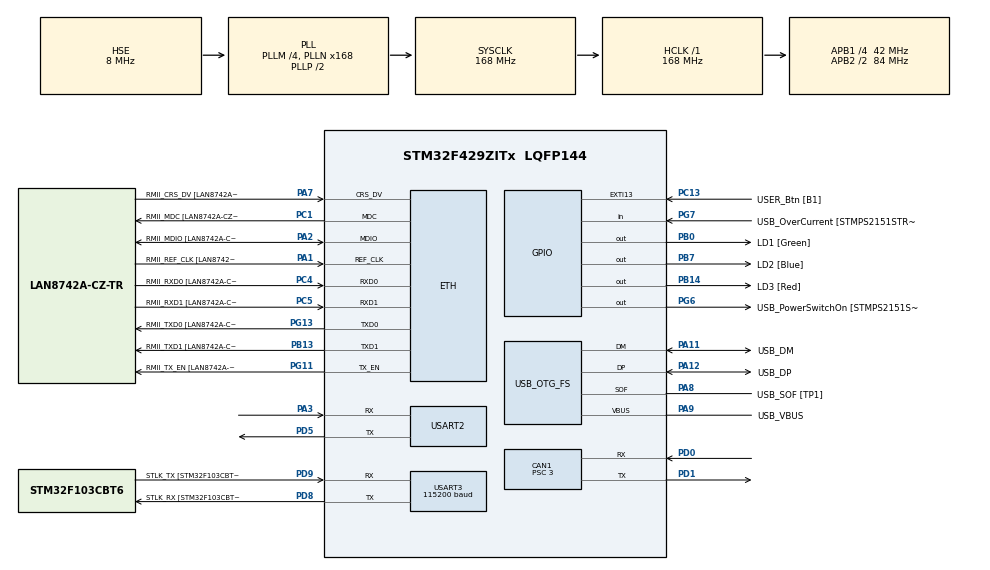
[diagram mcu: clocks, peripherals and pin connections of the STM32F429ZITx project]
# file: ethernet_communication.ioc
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CAN1.BS1=CAN_BS1_9TQ
CAN1.BS2=CAN_BS2_4TQ
CAN1.CalculateBaudRate=1000000
CAN1.CalculateTimeBit=999.99
CAN1.CalculateTimeQuantum=71.42857142857143
CAN1.Prescaler=3
ETH.MediaInterface=ETH_MEDIA_INTERFACE_RMII
ETH.PHY_Name_RMII=DP83848_PHY_ADDRESS
LWIP.GATEWAY_ADDRESS=169.254.001.001
LWIP.IP_ADDRESS=169.254.227.001
LWIP.LWIP_DHCP=0
LWIP.NETMASK_ADDRESS=255.255.000.000
LWIP.Version=v2.1.2_Cube
Mcu.Family=STM32F4
Mcu.Name=STM32F429ZITx
Mcu.Package=LQFP144
NVIC.CAN1_RX0_IRQn=true\:0\:0\:false\:false\:true\:true\:true
NVIC.CAN1_TX_IRQn=true\:0\:0\:false\:false\:true\:true\:true
NVIC.EXTI15_10_IRQn=true\:0\:0\:false\:false\:true\:true\:true
NVIC.PriorityGroup=NVIC_PRIORITYGROUP_4
PA1.GPIO_Label=RMII_REF_CLK [LAN8742A-CZ-TR_REFCLK0]
PA1.Mode=RMII
PA1.Signal=ETH_REF_CLK
PA10.GPIO_Label=USB_ID
PA10.Signal=USB_OTG_FS_ID
PA11.GPIO_Label=USB_DM
PA11.Mode=Device_Only
PA11.Signal=USB_OTG_FS_DM
PA12.GPIO_Label=USB_DP
PA12.Mode=Device_Only
PA12.Signal=USB_OTG_FS_DP
PA13.GPIO_Label=TMS
PA13.Mode=Serial_Wire
PA13.Signal=SYS_JTMS-SWDIO
PA14.GPIO_Label=TCK
PA14.Mode=Serial_Wire
PA14.Signal=SYS_JTCK-SWCLK
PA2.GPIO_Label=RMII_MDIO [LAN8742A-CZ-TR_MDIO]
PA2.Mode=RMII
PA2.Signal=ETH_MDIO
PA3.Mode=Asynchronous
PA3.Signal=USART2_RX
PA7.GPIO_Label=RMII_CRS_DV [LAN8742A-CZ-TR_CRS_DV]
PA7.Mode=RMII
PA7.Signal=ETH_CRS_DV
PA8.GPIO_Label=USB_SOF [TP1]
PA8.Mode=Activate_SOF_FS
PA8.Signal=USB_OTG_FS_SOF
PA9.GPIO_Label=USB_VBUS
PA9.Mode=Activate_VBUS
PA9.Signal=USB_OTG_FS_VBUS
PB0.GPIO_Label=LD1 [Green]
PB0.Signal=GPIO_Output
PB13.GPIO_Label=RMII_TXD1 [LAN8742A-CZ-TR_TXD1]
PB13.Mode=RMII
PB13.Signal=ETH_TXD1
PB14.GPIO_Label=LD3 [Red]
PB14.PinState=GPIO_PIN_RESET
PB14.Signal=GPIO_Output
PB7.GPIO_Label=LD2 [Blue]
PB7.Signal=GPIO_Output
PC1.GPIO_Label=RMII_MDC [LAN8742A-CZ-TR_MDC]
PC1.Mode=RMII
PC1.Signal=ETH_MDC
PC13.GPIO_Label=USER_Btn [B1]
PC13.GPIO_PuPd=GPIO_PULLDOWN
PC13.Signal=GPXTI13
PC14/OSC32_IN.Mode=LSE-External-Oscillator
PC14/OSC32_IN.Signal=RCC_OSC32_IN
PC15/OSC32_OUT.Mode=LSE-External-Oscillator
PC15/OSC32_OUT.Signal=RCC_OSC32_OUT
PC4.GPIO_Label=RMII_RXD0 [LAN8742A-CZ-TR_RXD0]
PC4.Mode=RMII
PC4.Signal=ETH_RXD0
PC5.GPIO_Label=RMII_RXD1 [LAN8742A-CZ-TR_RXD1]
PC5.Mode=RMII
PC5.Signal=ETH_RXD1
PD0.Mode=CAN_Activate
PD0.Signal=CAN1_RX
PD1.Mode=CAN_Activate
PD1.Signal=CAN1_TX
PD5.Mode=Asynchronous
PD5.Signal=USART2_TX
PD8.GPIO_Label=STLK_RX [STM32F103CBT6_PA3]
PD8.Mode=Asynchronous
PD8.Signal=USART3_TX
PD9.GPIO_Label=STLK_TX [STM32F103CBT6_PA2]
PD9.Mode=Asynchronous
PD9.Signal=USART3_RX
PG11.GPIO_Label=RMII_TX_EN [LAN8742A-CZ-TR_TXEN]
PG11.Mode=RMII
PG11.Signal=ETH_TX_EN
PG13.GPIO_Label=RMII_TXD0 [LAN8742A-CZ-TR_TXD0]
PG13.Mode=RMII
PG13.Signal=ETH_TXD0
PG6.GPIO_Label=USB_PowerSwitchOn [STMPS2151STR_EN]
PG6.Signal=GPIO_Output
PG7.GPIO_Label=USB_OverCurrent [STMPS2151STR_FAULT]
PG7.Signal=GPIO_Input
PH0/OSC_IN.GPIO_Label=MCO [STM32F103CBT6_PA8]
PH0/OSC_IN.Mode=HSE-External-Clock-Source
PH0/OSC_IN.Signal=RCC_OSC_IN
PH1/OSC_OUT.Mode=HSE-External-Clock-Source
PH1/OSC_OUT.Signal=RCC_OSC_OUT
ProjectManager.HeapSize=0x200
ProjectManager.StackSize=0x400
ProjectManager.TargetToolchain=STM32CubeIDE
RCC.48MHZClocksFreq_Value=48000000
RCC.AHBFreq_Value=168000000
RCC.APB1CLKDivider=RCC_HCLK_DIV4
RCC.APB1Freq_Value=42000000
RCC.APB1TimFreq_Value=84000000
RCC.APB2CLKDivider=RCC_HCLK_DIV2
RCC.APB2Freq_Value=84000000
RCC.APB2TimCLKDivider=2
RCC.APB2TimFreq_Value=168000000
RCC.CortexFreq_Value=168000000
RCC.HCLKFreq_Value=168000000
RCC.HSE_VALUE=8000000
RCC.HSI_VALUE=16000000
RCC.PLLM=4
RCC.PLLMUL=RCC_PLL_MUL9
RCC.PLLN=168
RCC.PLLQ=7
RCC.PRESCALERUSB=RCC_USBCLKSOURCE_PLL_DIV1_5
RCC.SYSCLKFreq_VALUE=168000000
RCC.SYSCLKSource=RCC_SYSCLKSOURCE_PLLCLK
RCC.SYSCLKSourceVirtual=RCC_SYSCLKSOURCE_PLLCLK
RCC.USBFreq_Value=48000000
RCC.VCOOutputFreq_Value=336000000
USART2.VirtualMode=VM_ASYNC
USART3.BaudRate=115200
USART3.VirtualMode=VM_ASYNC
USB_OTG_FS.VirtualMode=Device_Only
VP_LWIP_VS_Enabled.Mode=Enabled
board=NUCLEO-F429ZI

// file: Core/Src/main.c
/* USER CODE BEGIN Header */
/**
  ******************************************************************************
  * @file           : main.c
  * @brief          : Main program body
  ******************************************************************************
  * @attention
  *
  * <h2><center>&copy; Copyright (c) 2022 STMicroelectronics.
  * All rights reserved.</center></h2>
  *
  * This software component is licensed by ST under Ultimate Liberty license
  * SLA0044, the "License"; You may not use this file except in compliance with
  * the License. You may obtain a copy of the License at:
  *                             www.st.com/SLA0044
  *
  ******************************************************************************
  */
/* USER CODE END Header */
#include "main.h"
#include "can.h"
#include "lwip.h"
#include "usart.h"
#include "usb_otg.h"
#include "gpio.h"

/* USER CODE BEGIN Includes */
#include "bsp_can.h"
#include "pid.h"
#include "udp_echoclient.h"
/* USER CODE END Includes */

/* USER CODE BEGIN PV */
extern moto_info_t motor_info[MOTOR_MAX_NUM];
int16_t led_cnt;
pid_struct_t motor_pid[7];
float target_speed;

int btn_cnt;

extern u8_t   udp_recvdata[100];
/* USER CODE END PV */

void SystemClock_Config(void);
/* USER CODE BEGIN PFP */
//static void BSP_Config(void);
/* USER CODE END PFP */

int main(void)
{

  /* MCU Configuration--------------------------------------------------------*/

  /* Reset of all peripherals, Initializes the Flash interface and the Systick. */
  HAL_Init();

  /* Configure the system clock */
  SystemClock_Config();

  /* USER CODE BEGIN SysInit */
//  BSP_Config();
  /* USER CODE END SysInit */

  /* Initialize all configured peripherals */
  MX_GPIO_Init();
  MX_CAN1_Init();
  MX_LWIP_Init();
  MX_USART3_UART_Init();
  MX_USB_OTG_FS_PCD_Init();
  MX_USART2_UART_Init();
  /* USER CODE BEGIN 2 */
  udp_echoclient_connect();
  /* USER CODE END 2 */

  /* Infinite loop */
  /* USER CODE BEGIN WHILE */
  while (1)
  {
	led_cnt ++;
	if (led_cnt == 250)
	{
	  led_cnt = 0;
	  HAL_GPIO_TogglePin(LD3_GPIO_Port, LD3_Pin); //blink cycle 500ms
	}

	MX_LWIP_Process();
    /* USER CODE END WHILE */

  }
}

void SystemClock_Config(void)
{
  RCC_OscInitTypeDef RCC_OscInitStruct = {0};
  RCC_ClkInitTypeDef RCC_ClkInitStruct = {0};

  /** Configure the main internal regulator output voltage
  */
  __HAL_RCC_PWR_CLK_ENABLE();
  __HAL_PWR_VOLTAGESCALING_CONFIG(PWR_REGULATOR_VOLTAGE_SCALE1);
  /** Initializes the RCC Oscillators according to the specified parameters
  * in the RCC_OscInitTypeDef structure.
  */
  RCC_OscInitStruct.OscillatorType = RCC_OSCILLATORTYPE_HSE;
  RCC_OscInitStruct.HSEState = RCC_HSE_BYPASS;
  RCC_OscInitStruct.PLL.PLLState = RCC_PLL_ON;
  RCC_OscInitStruct.PLL.PLLSource = RCC_PLLSOURCE_HSE;
  RCC_OscInitStruct.PLL.PLLM = 4;
  RCC_OscInitStruct.PLL.PLLN = 168;
  RCC_OscInitStruct.PLL.PLLP = RCC_PLLP_DIV2;
  RCC_OscInitStruct.PLL.PLLQ = 7;
  if (HAL_RCC_OscConfig(&RCC_OscInitStruct) != HAL_OK)
  {
    Error_Handler();
  }
  /** Initializes the CPU, AHB and APB buses clocks
  */
  RCC_ClkInitStruct.ClockType = RCC_CLOCKTYPE_HCLK|RCC_CLOCKTYPE_SYSCLK
                              |RCC_CLOCKTYPE_PCLK1|RCC_CLOCKTYPE_PCLK2;
  RCC_ClkInitStruct.SYSCLKSource = RCC_SYSCLKSOURCE_PLLCLK;
  RCC_ClkInitStruct.AHBCLKDivider = RCC_SYSCLK_DIV1;
  RCC_ClkInitStruct.APB1CLKDivider = RCC_HCLK_DIV4;
  RCC_ClkInitStruct.APB2CLKDivider = RCC_HCLK_DIV2;

  if (HAL_RCC_ClockConfig(&RCC_ClkInitStruct, FLASH_LATENCY_5) != HAL_OK)
  {
    Error_Handler();
  }
}

/* USER CODE BEGIN 4 */
/**
  * @brief  Configures the BSP.
  * @param  None
  * @retval None
  */
//static void BSP_Config(void)
//{
//  /* Configure LED1, LED2 */
//  BSP_LED_Init(LED2);
//
//  /* Set Systick Interrupt to the highest priority */
//  HAL_NVIC_SetPriority(SysTick_IRQn, 0x0, 0x0);
//
//  /* Configure User Button */
//  BSP_PB_Init(BUTTON_USER, BUTTON_MODE_EXTI);
//}

/**
  * @brief EXTI line detection callbacks
  * @param GPIO_Pin: Specifies the pins connected EXTI line
  * @retval None
  */
void HAL_GPIO_EXTI_Callback(uint16_t GPIO_Pin)
{

  if (GPIO_Pin == GPIO_PIN_13)
  {
	  btn_cnt ++;
	  udp_echoclient_send();
	  HAL_UART_Transmit(&huart2, (uint8_t *) &udp_recvdata, sizeof(udp_recvdata), 0xffff);
  }
}
/* USER CODE END 4 */

void Error_Handler(void)
{
  __disable_irq();
  while (1)
  {
  }
}

/************************ (C) COPYRIGHT STMicroelectronics *****END OF FILE****/
